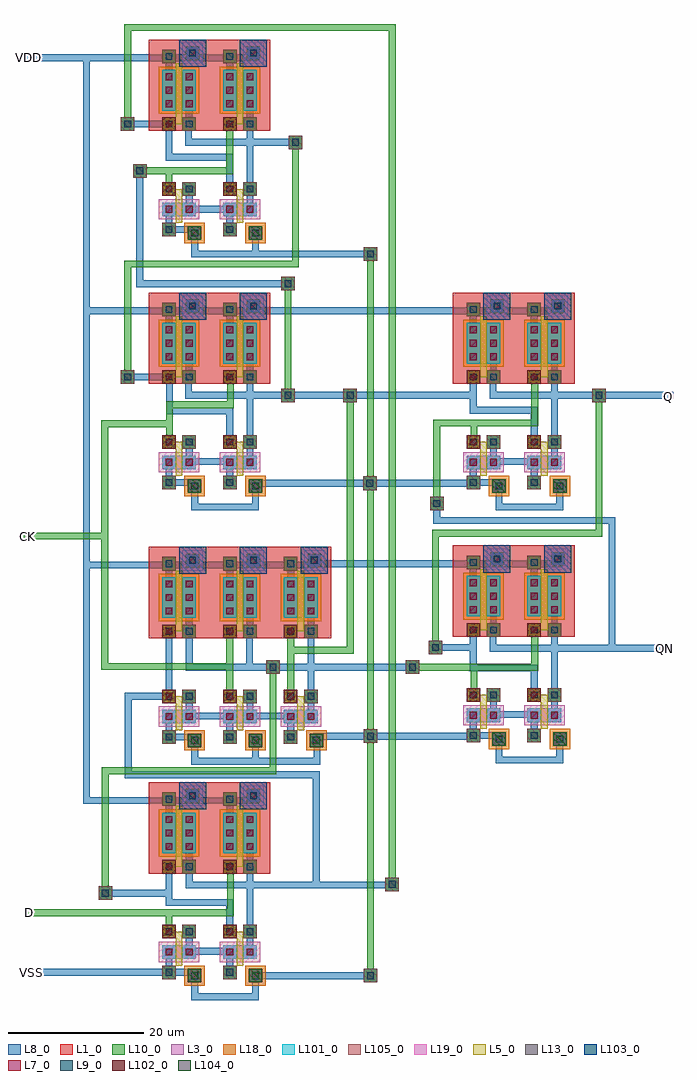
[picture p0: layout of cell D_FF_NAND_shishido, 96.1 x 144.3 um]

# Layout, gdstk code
import gdstk
lib = gdstk.Library(unit=1e-6, precision=1e-07)
def R(c, l, rs):  # rectangles x0, y0, x1, y1
    for r in rs: c.add(gdstk.rectangle(r[:2], r[2:], *l))
L1_0 = (1, 0)
L3_0 = (3, 0)
L5_0 = (5, 0)
L7_0 = (7, 0)
L8_0 = (8, 0)
L9_0 = (9, 0)
L10_0 = (10, 0)
L13_0 = (13, 0)
L18_0 = (18, 0)
L19_0 = (19, 0)
L101_0 = (101, 0)
L102_0 = (102, 0)
L103_0 = (103, 0)
L104_0 = (104, 0)
L105_0 = (105, 0)

via_1 = lib.new_cell('Via$1')
R(via_1, L8_0, [(-1,-1,1,1)])
R(via_1, L9_0, [(-0.5,-0.5,0.5,0.5)])
R(via_1, L10_0, [(-1,-1,1,1)])
R(via_1, L13_0, [(-0.5,-0.5,0.5,0.5)])
R(via_1, L105_0, [(-1,-1,1,1)])
via_1.add(gdstk.Label('via', (0,0), layer=13, texttype=0))

dcont = lib.new_cell('dcont')
R(dcont, L3_0, [(-1,-1,1,1)])
R(dcont, L7_0, [(-0.5,-0.5,0.5,0.5)])
R(dcont, L8_0, [(-1,-1,1,1)])
R(dcont, L13_0, [(-0.5,-0.5,0.5,0.5)])
R(dcont, L101_0, [(-1,-1,1,1)])

pcont = lib.new_cell('pcont')
R(pcont, L5_0, [(-1,-1,1,1)])
R(pcont, L7_0, [(-0.5,-0.5,0.5,0.5)])
R(pcont, L8_0, [(-1,-1,1,1)])
R(pcont, L13_0, [(-0.5,-0.5,0.5,0.5)])
R(pcont, L102_0, [(-1,-1,1,1)])

via = lib.new_cell('Via')
R(via, L8_0, [(-1,-1,1,1)])
R(via, L9_0, [(-0.5,-0.5,0.5,0.5)])
R(via, L10_0, [(-1,-1,1,1)])
R(via, L13_0, [(-0.5,-0.5,0.5,0.5)])
R(via, L105_0, [(-1,-1,1,1)])

dcont1 = lib.new_cell('dcont1')
R(dcont1, L3_0, [(-1,-1,1,1)])
R(dcont1, L7_0, [(-0.5,-0.5,0.5,0.5)])
R(dcont1, L8_0, [(-1,-1,1,1)])
R(dcont1, L13_0, [(-0.5,-0.5,0.5,0.5)])
R(dcont1, L101_0, [(-1,-1,1,1)])

nsubcont = lib.new_cell('nsubcont')
R(nsubcont, L1_0, [(-2,-2,2,2)])
R(nsubcont, L19_0, [(-1.5,-1.5,1.5,1.5)])
R(nsubcont, L103_0, [(-2,-2,2,2)])
nsubcont.add(gdstk.Reference(dcont1, (0,0)))

pch = lib.new_cell('Pch')
R(pch, L1_0, [(-2,0,7,13.5)])
R(pch, L3_0, [(0,3,5,9)])
R(pch, L18_0, [(-0.5,2.5,5.5,9.5)])
pch.add(gdstk.FlexPath([(1,3),(1,9)], 2, ends="flush", simple_path=True, layer=8, datatype=0))  # L8_0
pch.add(gdstk.FlexPath([(4,3),(4,9)], 2, ends="flush", simple_path=True, layer=8, datatype=0))  # L8_0
pch.add(gdstk.FlexPath([(1,8),(1,11)], 1, ends="flush", simple_path=True, layer=8, datatype=0))  # L8_0
pch.add(gdstk.FlexPath([(4,1),(4,4)], 1, ends="flush", simple_path=True, layer=8, datatype=0))  # L8_0
pch.add(gdstk.FlexPath([(2.5,3),(2.5,9)], 1, ends=(1, 1), simple_path=True, layer=5, datatype=0))  # L5_0
pch.add(gdstk.FlexPath([(1,1.5),(2.5,1.5),(2.5,2)], 1, ends="flush", simple_path=True, layer=5, datatype=0))  # L5_0
pch.add(gdstk.Reference(dcont, (1,4)))
pch.add(gdstk.Reference(dcont, (1,6)))
pch.add(gdstk.Reference(dcont, (1,8)))
pch.add(gdstk.Reference(dcont, (4,4)))
pch.add(gdstk.Reference(dcont, (4,6)))
pch.add(gdstk.Reference(dcont, (4,8)))
pch.add(gdstk.Reference(pcont, (1,1)))
pch.add(gdstk.Reference(via, (1,1)))
pch.add(gdstk.Reference(via, (1,11)))
pch.add(gdstk.Reference(via, (4,1)))
pch.add(gdstk.Reference(nsubcont, (4.5,11.5)))
pch.add(gdstk.Reference(via, (4.5,11.5)))

psubcont = lib.new_cell('psubcont')
R(psubcont, L18_0, [(-1.5,-1.5,1.5,1.5)])
R(psubcont, L104_0, [(-1,-1,1,1)])
psubcont.add(gdstk.Reference(dcont1, (0,0)))

nch = lib.new_cell('Nch')
R(nch, L3_0, [(0,3,5,5)])
R(nch, L19_0, [(-0.5,2.5,5.5,5.5)])
nch.add(gdstk.FlexPath([(1,3),(1,5)], 2, ends="flush", simple_path=True, layer=8, datatype=0))  # L8_0
nch.add(gdstk.FlexPath([(4,3),(4,5)], 2, ends="flush", simple_path=True, layer=8, datatype=0))  # L8_0
nch.add(gdstk.FlexPath([(1,1),(1,4)], 1, ends="flush", simple_path=True, layer=8, datatype=0))  # L8_0
nch.add(gdstk.FlexPath([(4,4),(4,7)], 1, ends="flush", simple_path=True, layer=8, datatype=0))  # L8_0
nch.add(gdstk.FlexPath([(2.5,3),(2.5,5)], 1, ends=(1, 1), simple_path=True, layer=5, datatype=0))  # L5_0
nch.add(gdstk.FlexPath([(1,6.5),(2.5,6.5),(2.5,6)], 1, ends="flush", simple_path=True, layer=5, datatype=0))  # L5_0
nch.add(gdstk.Reference(dcont, (1,4)))
nch.add(gdstk.Reference(dcont, (4,4)))
nch.add(gdstk.Reference(pcont, (1,7)))
nch.add(gdstk.Reference(via, (1,7)))
nch.add(gdstk.Reference(via, (1,1)))
nch.add(gdstk.Reference(via, (4,7)))
nch.add(gdstk.Reference(psubcont, (4.8,0.5)))
nch.add(gdstk.Reference(via, (4.8,0.5)))

d_ff_nand_shishido = lib.new_cell('D_FF_NAND_shishido')
R(d_ff_nand_shishido, L8_0, [(-3,-24.3,-1.4,-22.8), (-42.2,-12.2,-40.5,-10.4), (0.2,-10.9,1.8,-9.2), (-3,11.1,-1.4,12.7), (-17.4,21.3,-15.8,22.9), (3.2,21.3,4.8,22.9), (6.7,24.2,8.3,25.7), (6.8,45.5,8.4,47.2), (-3.1,48.5,-1.5,50.1), (-15.2,61.5,-13.5,63.1), (-6,61.5,-4.3,63.1), (-39,64.1,-37.2,65.9), (-15.2,78,-13.5,79.6), (-2.9,82.4,-1.4,84), (-37.2,94.6,-35.5,96.4), (-14.1,98.9,-12.5,100.6), (-38.9,101.5,-37.2,103.2)])
R(d_ff_nand_shishido, L10_0, [(-3,-24.3,-1.4,-22.8), (-42.2,-12.2,-40.5,-10.4), (0.2,-10.9,1.9,-9.2), (-3,11.1,-1.4,12.7), (-17.4,21.3,-15.8,22.9), (3.2,21.3,4.8,22.9), (6.6,24.2,8.3,25.8), (6.8,45.5,8.4,47.2), (-3.1,48.5,-1.5,50.1), (-15.2,61.5,-13.5,63.1), (-6,61.5,-4.3,63.1), (-39,64.1,-37.2,65.9), (-15.2,78,-13.5,79.6), (-2.9,82.4,-1.4,84), (-37.2,94.6,-35.5,96.4), (-14.1,98.9,-12.5,100.6), (-38.9,101.5,-37.2,103.2)])
d_ff_nand_shishido.add(gdstk.FlexPath([(-36.3,96),(-36.3,78.8),(-13.9,78.8)], 1, ends="flush", simple_path=True, layer=8, datatype=0))  # L8_0
d_ff_nand_shishido.add(gdstk.FlexPath([(-23,92.3),(-23,97.5),(-32,97.5),(-32,102.9),(-32,102.9)], 1, ends="flush", simple_path=True, layer=8, datatype=0))  # L8_0
d_ff_nand_shishido.add(gdstk.FlexPath([(-32,-6.9),(-32,-12.7),(-23,-12.7),(-23,-17.5)], 1, ends="flush", simple_path=True, layer=8, datatype=0))  # L8_0
d_ff_nand_shishido.add(gdstk.FlexPath([(-31.5,-11.3),(-41.9,-11.3)], 1, ends="flush", simple_path=True, layer=8, datatype=0))  # L8_0
d_ff_nand_shishido.add(gdstk.FlexPath([(13.5,25),(6.9,25)], 1, ends="flush", simple_path=True, layer=8, datatype=0))  # L8_0
d_ff_nand_shishido.add(gdstk.FlexPath([(4.6,22.1),(-29,22.1),(-29,27.9)], 1, ends="flush", simple_path=True, layer=8, datatype=0))  # L8_0
d_ff_nand_shishido.add(gdstk.FlexPath([(12.6,60.1),(22,60.1),(22,54.9)], 1, ends="flush", simple_path=True, layer=8, datatype=0))  # L8_0
d_ff_nand_shishido.add(gdstk.FlexPath([(13,65.5),(13,59.6)], 1, ends="flush", simple_path=True, layer=8, datatype=0))  # L8_0
d_ff_nand_shishido.add(gdstk.FlexPath([(13.5,62.3),(7.7,62.3)], 1, ends="flush", simple_path=True, layer=8, datatype=0))  # L8_0
d_ff_nand_shishido.add(gdstk.FlexPath([(-31.9,65.5),(-31.9,60),(-23,60),(-23,54.9)], 1, ends="flush", simple_path=True, layer=8, datatype=0))  # L8_0
d_ff_nand_shishido.add(gdstk.FlexPath([(-31.5,65),(-38.6,65)], 1, ends="flush", simple_path=True, layer=8, datatype=0))  # L8_0
d_ff_nand_shishido.add(gdstk.FlexPath([(-31.5,102.4),(-38.6,102.4)], 1, ends="flush", simple_path=True, layer=8, datatype=0))  # L8_0
d_ff_nand_shishido.add(gdstk.FlexPath([(-31.5,17.8),(-38,17.8),(-38,6.2),(-10.2,6.2),(-10.2,-10.6)], 1, ends="flush", simple_path=True, layer=8, datatype=0))  # L8_0
d_ff_nand_shishido.add(gdstk.FlexPath([(-11,-10.1),(1.5,-10.1)], 1, ends="flush", simple_path=True, layer=8, datatype=0))  # L8_0
d_ff_nand_shishido.add(gdstk.FlexPath([(-19.5,83.2),(-1.7,83.2)], 1, ends="flush", simple_path=True, layer=8, datatype=0))  # L8_0
d_ff_nand_shishido.add(gdstk.FlexPath([(7.2,74.8),(-20.5,74.8)], 1, ends="flush", simple_path=True, layer=8, datatype=0))  # L8_0
d_ff_nand_shishido.add(gdstk.FlexPath([(7.4,37.4),(-11,37.4)], 1, ends="flush", simple_path=True, layer=8, datatype=0))  # L8_0
d_ff_nand_shishido.add(gdstk.FlexPath([(-44.2,1.9),(-44.2,112.5)], 1, ends="flush", simple_path=True, layer=8, datatype=0))  # L8_0
d_ff_nand_shishido.add(gdstk.FlexPath([(-35.8,37.2),(-44.3,37.2)], 1, ends="flush", simple_path=True, layer=8, datatype=0))  # L8_0
d_ff_nand_shishido.add(gdstk.FlexPath([(-37.9,2.4),(-44.3,2.4)], 1, ends="flush", simple_path=True, layer=8, datatype=0))  # L8_0
d_ff_nand_shishido.add(gdstk.FlexPath([(-38,74.8),(-44.4,74.8)], 1, ends="flush", simple_path=True, layer=8, datatype=0))  # L8_0
d_ff_nand_shishido.add(gdstk.FlexPath([(-37.2,112.2),(-53.4,112.2)], 1, ends="flush", simple_path=True, layer=8, datatype=0))  # L8_0
d_ff_nand_shishido.add(gdstk.FlexPath([(-14.1,99.7),(-12.3,99.7)], 1, ends="flush", simple_path=True, layer=8, datatype=0))  # L8_0
d_ff_nand_shishido.add(gdstk.FlexPath([(-10.8,-10.1),(-29,-10.1),(-29,-7)], 1, ends="flush", simple_path=True, layer=8, datatype=0))  # L8_0
d_ff_nand_shishido.add(gdstk.FlexPath([(-14.6,62.3),(8.3,62.3)], 1, ends="flush", simple_path=True, layer=8, datatype=0))  # L8_0
d_ff_nand_shishido.add(gdstk.FlexPath([(-20.1,25),(-20.1,21.8)], 1, ends="flush", simple_path=True, layer=8, datatype=0))  # L8_0
d_ff_nand_shishido.add(gdstk.FlexPath([(30.7,62.3),(42.6,62.3)], 1, ends="flush", simple_path=True, layer=8, datatype=0))  # L8_0
d_ff_nand_shishido.add(gdstk.FlexPath([(33.5,44.1),(33.5,24.4)], 1, ends="flush", simple_path=True, layer=8, datatype=0))  # L8_0
d_ff_nand_shishido.add(gdstk.FlexPath([(7.6,46.8),(7.6,43.8),(34,43.8)], 1, ends="flush", simple_path=True, layer=8, datatype=0))  # L8_0
d_ff_nand_shishido.add(gdstk.FlexPath([(30.3,24.9),(42.1,24.9)], 1, ends="flush", simple_path=True, layer=8, datatype=0))  # L8_0
d_ff_nand_shishido.add(gdstk.FlexPath([(12.3,12),(17.2,12)], 1, ends="flush", simple_path=True, layer=8, datatype=0))  # L8_0
d_ff_nand_shishido.add(gdstk.FlexPath([(6.6,11.9),(13.2,11.9)], 1, ends="flush", simple_path=True, layer=8, datatype=0))  # L8_0
d_ff_nand_shishido.add(gdstk.FlexPath([(15.9,27.7),(15.9,24.9),(31,24.9),(31,24.9),(31,24.9)], 1, ends="flush", simple_path=True, layer=8, datatype=0))  # L8_0
d_ff_nand_shishido.add(gdstk.FlexPath([(25,27.7),(25,17.8)], 1, ends="flush", simple_path=True, layer=8, datatype=0))  # L8_0
d_ff_nand_shishido.add(gdstk.FlexPath([(16.8,11.4),(16.8,8.4),(25.8,8.4),(25.8,11.6),(25.8,11.6)], 1, ends="flush", simple_path=True, layer=8, datatype=0))  # L8_0
d_ff_nand_shishido.add(gdstk.FlexPath([(15.9,15.1),(22.3,15.1)], 1, ends="flush", simple_path=True, layer=8, datatype=0))  # L8_0
d_ff_nand_shishido.add(gdstk.FlexPath([(13,27.6),(13,22),(22,22),(22,17.6)], 1, ends="flush", simple_path=True, layer=8, datatype=0))  # L8_0
d_ff_nand_shishido.add(gdstk.FlexPath([(6.8,37.4),(26.3,37.4)], 1, ends="flush", simple_path=True, layer=8, datatype=0))  # L8_0
d_ff_nand_shishido.add(gdstk.FlexPath([(12.3,49.4),(17.2,49.4)], 1, ends="flush", simple_path=True, layer=8, datatype=0))  # L8_0
d_ff_nand_shishido.add(gdstk.FlexPath([(6.6,49.3),(13.2,49.3)], 1, ends="flush", simple_path=True, layer=8, datatype=0))  # L8_0
d_ff_nand_shishido.add(gdstk.FlexPath([(15.9,65.1),(15.9,62.3),(31,62.3),(31,62.3),(31,62.3)], 1, ends="flush", simple_path=True, layer=8, datatype=0))  # L8_0
d_ff_nand_shishido.add(gdstk.FlexPath([(25,65.1),(25,55.2)], 1, ends="flush", simple_path=True, layer=8, datatype=0))  # L8_0
d_ff_nand_shishido.add(gdstk.FlexPath([(16.8,48.8),(16.8,45.8),(25.8,45.8),(25.8,49),(25.8,49)], 1, ends="flush", simple_path=True, layer=8, datatype=0))  # L8_0
d_ff_nand_shishido.add(gdstk.FlexPath([(15.9,52.5),(22.3,52.5)], 1, ends="flush", simple_path=True, layer=8, datatype=0))  # L8_0
d_ff_nand_shishido.add(gdstk.FlexPath([(6.8,74.8),(26.3,74.8)], 1, ends="flush", simple_path=True, layer=8, datatype=0))  # L8_0
d_ff_nand_shishido.add(gdstk.FlexPath([(-32.7,49.4),(-27.8,49.4)], 1, ends="flush", simple_path=True, layer=8, datatype=0))  # L8_0
d_ff_nand_shishido.add(gdstk.FlexPath([(7.2,49.3),(-19.7,49.3)], 1, ends="flush", simple_path=True, layer=8, datatype=0))  # L8_0
d_ff_nand_shishido.add(gdstk.FlexPath([(-29.1,65.1),(-29.1,62.3),(-14,62.3),(-14,62.3),(-14,62.3)], 1, ends="flush", simple_path=True, layer=8, datatype=0))  # L8_0
d_ff_nand_shishido.add(gdstk.FlexPath([(-20,65.1),(-20,55.2)], 1, ends="flush", simple_path=True, layer=8, datatype=0))  # L8_0
d_ff_nand_shishido.add(gdstk.FlexPath([(-28.2,48.8),(-28.2,45.8),(-19.2,45.8),(-19.2,49),(-19.2,49)], 1, ends="flush", simple_path=True, layer=8, datatype=0))  # L8_0
d_ff_nand_shishido.add(gdstk.FlexPath([(-29.1,52.5),(-22.7,52.5)], 1, ends="flush", simple_path=True, layer=8, datatype=0))  # L8_0
d_ff_nand_shishido.add(gdstk.FlexPath([(7.1,11.9),(-10.1,11.9),(-10.1,10.5)], 1, ends="flush", simple_path=True, layer=8, datatype=0))  # L8_0
d_ff_nand_shishido.add(gdstk.FlexPath([(-38.2,74.8),(-18.7,74.8)], 1, ends="flush", simple_path=True, layer=8, datatype=0))  # L8_0
d_ff_nand_shishido.add(gdstk.FlexPath([(-32.7,86.8),(-27.8,86.8)], 1, ends="flush", simple_path=True, layer=8, datatype=0))  # L8_0
d_ff_nand_shishido.add(gdstk.FlexPath([(-29.1,102.5),(-29.1,99.7),(-14,99.7),(-14,99.7),(-14,99.7)], 1, ends="flush", simple_path=True, layer=8, datatype=0))  # L8_0
d_ff_nand_shishido.add(gdstk.FlexPath([(-20,102.5),(-20,92.6)], 1, ends="flush", simple_path=True, layer=8, datatype=0))  # L8_0
d_ff_nand_shishido.add(gdstk.FlexPath([(-28.2,86.2),(-28.2,83.2),(-19.2,83.2),(-19.2,86.4),(-19.2,86.4)], 1, ends="flush", simple_path=True, layer=8, datatype=0))  # L8_0
d_ff_nand_shishido.add(gdstk.FlexPath([(-29.5,89.8),(-22.5,89.8)], 1, ends="flush", simple_path=True, layer=8, datatype=0))  # L8_0
d_ff_nand_shishido.add(gdstk.FlexPath([(-38.2,112.2),(-18.7,112.2)], 1, ends="flush", simple_path=True, layer=8, datatype=0))  # L8_0
d_ff_nand_shishido.add(gdstk.FlexPath([(-38.2,2.4),(-18.7,2.4)], 1, ends="flush", simple_path=True, layer=8, datatype=0))  # L8_0
d_ff_nand_shishido.add(gdstk.FlexPath([(-29.1,-19.9),(-22.7,-19.9)], 1, ends="flush", simple_path=True, layer=8, datatype=0))  # L8_0
d_ff_nand_shishido.add(gdstk.FlexPath([(-28.2,-23.6),(-28.2,-26.6),(-19.2,-26.6),(-19.2,-23.4),(-19.2,-23.4)], 1, ends="flush", simple_path=True, layer=8, datatype=0))  # L8_0
d_ff_nand_shishido.add(gdstk.FlexPath([(-20,-7.3),(-20,-17.2)], 1, ends="flush", simple_path=True, layer=8, datatype=0))  # L8_0
d_ff_nand_shishido.add(gdstk.FlexPath([(-32.7,-23),(-27.8,-23)], 1, ends="flush", simple_path=True, layer=8, datatype=0))  # L8_0
d_ff_nand_shishido.add(gdstk.FlexPath([(-28.2,11.2),(-28.2,8.2),(-19.2,8.2),(-19.2,11.4),(-19.2,11.4)], 1, ends="flush", simple_path=True, layer=8, datatype=0))  # L8_0
d_ff_nand_shishido.add(gdstk.FlexPath([(-19.7,-23.5),(-1.8,-23.5)], 1, ends="flush", simple_path=True, layer=8, datatype=0))  # L8_0
d_ff_nand_shishido.add(gdstk.FlexPath([(-32.7,11.8),(-27.8,11.8)], 1, ends="flush", simple_path=True, layer=8, datatype=0))  # L8_0
d_ff_nand_shishido.add(gdstk.FlexPath([(-20.1,27.4),(-20.1,24.6)], 1, ends="flush", simple_path=True, layer=8, datatype=0))  # L8_0
d_ff_nand_shishido.add(gdstk.FlexPath([(-11,17.8),(-11,27.7)], 1, ends="flush", simple_path=True, layer=8, datatype=0))  # L8_0
d_ff_nand_shishido.add(gdstk.FlexPath([(-10.8,17.9),(-10.8,17.9)], 1, ends="flush", simple_path=True, layer=8, datatype=0))  # L8_0
d_ff_nand_shishido.add(gdstk.FlexPath([(-20,14.9),(-13.8,14.9)], 1, ends="flush", simple_path=True, layer=8, datatype=0))  # L8_0
d_ff_nand_shishido.add(gdstk.FlexPath([(-19.2,8.2),(-10.1,8.2),(-10.1,11.6),(-10.1,11.6)], 1, ends="flush", simple_path=True, layer=8, datatype=0))  # L8_0
d_ff_nand_shishido.add(gdstk.FlexPath([(-19.4,37.2),(-10,37.2)], 1, ends="flush", simple_path=True, layer=8, datatype=0))  # L8_0
d_ff_nand_shishido.add(gdstk.FlexPath([(-29.3,14.9),(-22.9,14.9)], 1, ends="flush", simple_path=True, layer=8, datatype=0))  # L8_0
d_ff_nand_shishido.add(gdstk.FlexPath([(-18.9,37.2),(-36.1,37.2)], 1, ends="flush", simple_path=True, layer=8, datatype=0))  # L8_0
d_ff_nand_shishido.add(gdstk.FlexPath([(-28.2,11.2),(-28.2,8.2),(-19.2,8.2),(-19.2,11.4),(-19.2,11.4)], 1, ends="flush", simple_path=True, layer=8, datatype=0))  # L8_0
d_ff_nand_shishido.add(gdstk.FlexPath([(-31.6,-23),(-53,-23)], 1, ends="flush", simple_path=True, layer=8, datatype=0))  # L8_0
d_ff_nand_shishido.add(gdstk.FlexPath([(-32.7,11.8),(-27.8,11.8)], 1, ends="flush", simple_path=True, layer=8, datatype=0))  # L8_0
d_ff_nand_shishido.add(gdstk.FlexPath([(-20.1,27.4),(-20.1,24.6)], 1, ends="flush", simple_path=True, layer=8, datatype=0))  # L8_0
d_ff_nand_shishido.add(gdstk.FlexPath([(-11,17.8),(-11,27.7)], 1, ends="flush", simple_path=True, layer=8, datatype=0))  # L8_0
d_ff_nand_shishido.add(gdstk.FlexPath([(-10.8,17.9),(-10.8,17.9)], 1, ends="flush", simple_path=True, layer=8, datatype=0))  # L8_0
d_ff_nand_shishido.add(gdstk.FlexPath([(-20,14.9),(-13.8,14.9)], 1, ends="flush", simple_path=True, layer=8, datatype=0))  # L8_0
d_ff_nand_shishido.add(gdstk.FlexPath([(-19.2,8.2),(-10.1,8.2),(-10.1,11.6),(-10.1,11.6)], 1, ends="flush", simple_path=True, layer=8, datatype=0))  # L8_0
d_ff_nand_shishido.add(gdstk.FlexPath([(-19.4,37.2),(-10,37.2)], 1, ends="flush", simple_path=True, layer=8, datatype=0))  # L8_0
d_ff_nand_shishido.add(gdstk.FlexPath([(-29.3,14.9),(-22.9,14.9)], 1, ends="flush", simple_path=True, layer=8, datatype=0))  # L8_0
d_ff_nand_shishido.add(gdstk.FlexPath([(-32,27.7),(-32,17.4)], 1, ends="flush", simple_path=True, layer=8, datatype=0))  # L8_0
d_ff_nand_shishido.add(gdstk.FlexPath([(-22.5,-14.2),(-53.3,-14.2)], 1, ends="flush", simple_path=True, layer=10, datatype=0))  # L10_0
d_ff_nand_shishido.add(gdstk.FlexPath([(-32,-17.5),(-32,-13.7)], 1, ends="flush", simple_path=True, layer=10, datatype=0))  # L10_0
d_ff_nand_shishido.add(gdstk.FlexPath([(-22.9,-11.6),(-22.9,-14.7)], 1, ends="flush", simple_path=True, layer=10, datatype=0))  # L10_0
d_ff_nand_shishido.add(gdstk.FlexPath([(-41.4,-11.8),(-41.4,6.8),(-16.6,6.8),(-16.6,22.6)], 1, ends="flush", simple_path=True, layer=10, datatype=0))  # L10_0
d_ff_nand_shishido.add(gdstk.FlexPath([(3.5,22.1),(22.1,22.1),(22.1,23.6)], 1, ends="flush", simple_path=True, layer=10, datatype=0))  # L10_0
d_ff_nand_shishido.add(gdstk.FlexPath([(13.1,17.5),(13.1,22.6)], 1, ends="flush", simple_path=True, layer=10, datatype=0))  # L10_0
d_ff_nand_shishido.add(gdstk.FlexPath([(7.4,24.4),(7.4,41.9),(31.6,41.9),(31.6,62.8)], 1, ends="flush", simple_path=True, layer=10, datatype=0))  # L10_0
d_ff_nand_shishido.add(gdstk.FlexPath([(7.6,45.7),(7.6,58.2),(13.6,58.2)], 1, ends="flush", simple_path=True, layer=10, datatype=0))  # L10_0
d_ff_nand_shishido.add(gdstk.FlexPath([(13.1,58.2),(22.1,58.2),(22.1,61)], 1, ends="flush", simple_path=True, layer=10, datatype=0))  # L10_0
d_ff_nand_shishido.add(gdstk.FlexPath([(13.1,54.9),(13.1,58.7)], 1, ends="flush", simple_path=True, layer=10, datatype=0))  # L10_0
d_ff_nand_shishido.add(gdstk.FlexPath([(-14.5,24.6),(-5.2,24.6),(-5.2,62.8)], 1, ends="flush", simple_path=True, layer=10, datatype=0))  # L10_0
d_ff_nand_shishido.add(gdstk.FlexPath([(-42,58.1),(-31.4,58.1)], 1, ends="flush", simple_path=True, layer=10, datatype=0))  # L10_0
d_ff_nand_shishido.add(gdstk.FlexPath([(-32.4,60.9),(-22.4,60.9)], 1, ends="flush", simple_path=True, layer=10, datatype=0))  # L10_0
d_ff_nand_shishido.add(gdstk.FlexPath([(-13.3,100.2),(-13.3,81.7),(-38.1,81.7),(-38.1,64.5)], 1, ends="flush", simple_path=True, layer=10, datatype=0))  # L10_0
d_ff_nand_shishido.add(gdstk.FlexPath([(-23,102.9),(-23,95.5),(-36.8,95.5)], 1, ends="flush", simple_path=True, layer=10, datatype=0))  # L10_0
d_ff_nand_shishido.add(gdstk.FlexPath([(-32,92.3),(-32,96)], 1, ends="flush", simple_path=True, layer=10, datatype=0))  # L10_0
d_ff_nand_shishido.add(gdstk.FlexPath([(-38.1,101.9),(-38.1,116.7),(1,116.7),(1,-10.6)], 1, ends="flush", simple_path=True, layer=10, datatype=0))  # L10_0
d_ff_nand_shishido.add(gdstk.FlexPath([(-2.2,12.4),(-2.2,-24)], 1, ends="flush", simple_path=True, layer=10, datatype=0))  # L10_0
d_ff_nand_shishido.add(gdstk.FlexPath([(-14.4,61.8),(-14.4,79.3)], 1, ends="flush", simple_path=True, layer=10, datatype=0))  # L10_0
d_ff_nand_shishido.add(gdstk.FlexPath([(-2.2,11.4),(-2.2,83.5)], 1, ends="flush", simple_path=True, layer=10, datatype=0))  # L10_0
d_ff_nand_shishido.add(gdstk.FlexPath([(22.1,27.5),(22.1,23)], 1, ends="flush", simple_path=True, layer=10, datatype=0))  # L10_0
d_ff_nand_shishido.add(gdstk.FlexPath([(-41.5,41.5),(-53.5,41.5)], 1, ends="flush", simple_path=True, layer=10, datatype=0))  # L10_0
d_ff_nand_shishido.add(gdstk.FlexPath([(-37.2,22.2),(-41.5,22.2),(-41.5,58.6)], 1, ends="flush", simple_path=True, layer=10, datatype=0))  # L10_0
d_ff_nand_shishido.add(gdstk.FlexPath([(-14.2,99.7),(-12.3,99.7)], 1, ends="flush", simple_path=True, layer=10, datatype=0))  # L10_0
d_ff_nand_shishido.add(gdstk.FlexPath([(15.8,27.5),(15.9,27.5)], 1, ends="flush", simple_path=True, layer=10, datatype=0))  # L10_0
d_ff_nand_shishido.add(gdstk.FlexPath([(15.8,64.9),(15.9,64.9)], 1, ends="flush", simple_path=True, layer=10, datatype=0))  # L10_0
d_ff_nand_shishido.add(gdstk.FlexPath([(22.1,64.9),(22.1,60.4)], 1, ends="flush", simple_path=True, layer=10, datatype=0))  # L10_0
d_ff_nand_shishido.add(gdstk.FlexPath([(-29.2,64.9),(-29.1,64.9)], 1, ends="flush", simple_path=True, layer=10, datatype=0))  # L10_0
d_ff_nand_shishido.add(gdstk.FlexPath([(-31.9,55.3),(-31.9,60.9)], 1, ends="flush", simple_path=True, layer=10, datatype=0))  # L10_0
d_ff_nand_shishido.add(gdstk.FlexPath([(-22.9,64.9),(-22.9,60.4)], 1, ends="flush", simple_path=True, layer=10, datatype=0))  # L10_0
d_ff_nand_shishido.add(gdstk.FlexPath([(-29.2,102.3),(-29.1,102.3)], 1, ends="flush", simple_path=True, layer=10, datatype=0))  # L10_0
d_ff_nand_shishido.add(gdstk.FlexPath([(-22.9,-7.5),(-22.9,-12)], 1, ends="flush", simple_path=True, layer=10, datatype=0))  # L10_0
d_ff_nand_shishido.add(gdstk.FlexPath([(-29.2,-7.5),(-29.1,-7.5)], 1, ends="flush", simple_path=True, layer=10, datatype=0))  # L10_0
d_ff_nand_shishido.add(gdstk.FlexPath([(-38,22.2),(-22.8,22.2)], 1, ends="flush", simple_path=True, layer=10, datatype=0))  # L10_0
d_ff_nand_shishido.add(gdstk.FlexPath([(-23,27.8),(-23,17.5)], 1, ends="flush", simple_path=True, layer=10, datatype=0))  # L10_0
d_ff_nand_shishido.add(gdstk.FlexPath([(-29.2,27.3),(-29.1,27.3)], 1, ends="flush", simple_path=True, layer=10, datatype=0))  # L10_0
d_ff_nand_shishido.add(gdstk.FlexPath([(-29.2,27.3),(-29.1,27.3)], 1, ends="flush", simple_path=True, layer=10, datatype=0))  # L10_0
d_ff_nand_shishido.add(gdstk.FlexPath([(-14,27.4),(-14,17.1)], 1, ends="flush", simple_path=True, layer=10, datatype=0))  # L10_0
d_ff_nand_shishido.add(gdstk.Reference(via_1, (7.6,46.3)))
d_ff_nand_shishido.add(gdstk.Reference(via_1, (-38.1,65)))
d_ff_nand_shishido.add(gdstk.Reference(via_1, (1,-10)))
d_ff_nand_shishido.add(gdstk.Reference(via_1, (-36.3,95.5)))
d_ff_nand_shishido.add(gdstk.Reference(via_1, (-2.2,-23.5)))
d_ff_nand_shishido.add(gdstk.Reference(via_1, (-5.2,62.3)))
d_ff_nand_shishido.add(gdstk.Reference(via_1, (-38.1,102.4)))
d_ff_nand_shishido.add(gdstk.Reference(via_1, (-2.3,49.3)))
d_ff_nand_shishido.add(gdstk.Reference(via_1, (-2.2,11.9)))
d_ff_nand_shishido.add(gdstk.Reference(via_1, (-2.2,83.2)))
d_ff_nand_shishido.add(gdstk.Reference(via_1, (-14.4,78.8)))
d_ff_nand_shishido.add(gdstk.Reference(via_1, (-14.4,62.3)))
d_ff_nand_shishido.add(gdstk.Reference(via_1, (-16.6,22.1)))
d_ff_nand_shishido.add(gdstk.Reference(via_1, (-13.3,99.7)))
d_ff_nand_shishido.add(gdstk.Reference(via_1, (31.6,62.3)))
d_ff_nand_shishido.add(gdstk.Reference(pch, (21,26.6)))
d_ff_nand_shishido.add(gdstk.Reference(pch, (12,26.6)))
d_ff_nand_shishido.add(gdstk.Reference(nch, (12,11)))
d_ff_nand_shishido.add(gdstk.Reference(nch, (21,11)))
d_ff_nand_shishido.add(gdstk.Reference(pch, (21,64)))
d_ff_nand_shishido.add(gdstk.Reference(pch, (12,64)))
d_ff_nand_shishido.add(gdstk.Reference(nch, (12,48.4)))
d_ff_nand_shishido.add(gdstk.Reference(nch, (21,48.4)))
d_ff_nand_shishido.add(gdstk.Reference(pch, (-24,64)))
d_ff_nand_shishido.add(gdstk.Reference(pch, (-33,64)))
d_ff_nand_shishido.add(gdstk.Reference(nch, (-33,48.4)))
d_ff_nand_shishido.add(gdstk.Reference(nch, (-24,48.4)))
d_ff_nand_shishido.add(gdstk.Reference(pch, (-24,101.4)))
d_ff_nand_shishido.add(gdstk.Reference(pch, (-33,101.4)))
d_ff_nand_shishido.add(gdstk.Reference(nch, (-33,85.8)))
d_ff_nand_shishido.add(gdstk.Reference(nch, (-24,85.8)))
d_ff_nand_shishido.add(gdstk.Reference(pch, (-24,26.4)))
d_ff_nand_shishido.add(gdstk.Reference(nch, (-15,10.8)))
d_ff_nand_shishido.add(gdstk.Reference(nch, (-24,10.8)))
d_ff_nand_shishido.add(gdstk.Reference(nch, (-33,10.8)))
d_ff_nand_shishido.add(gdstk.Reference(pch, (-15,26.4)))
d_ff_nand_shishido.add(gdstk.Reference(pch, (-33,26.4)))
d_ff_nand_shishido.add(gdstk.Reference(nch, (-24,-24)))
d_ff_nand_shishido.add(gdstk.Reference(nch, (-33,-24)))
d_ff_nand_shishido.add(gdstk.Reference(pch, (-33,-8.4)))
d_ff_nand_shishido.add(gdstk.Reference(pch, (-24,-8.4)))
d_ff_nand_shishido.add(gdstk.Reference(via_1, (-41.4,-11.3)))
d_ff_nand_shishido.add(gdstk.Reference(via_1, (7.4,25)))
d_ff_nand_shishido.add(gdstk.Reference(via_1, (4,22.1)))
d_ff_nand_shishido.add(gdstk.Label('QN', (41.2,24.8), layer=8, texttype=0))
d_ff_nand_shishido.add(gdstk.Label('Q', (41.9,62.2), layer=8, texttype=0))
d_ff_nand_shishido.add(gdstk.Label('VDD', (-52.8,112.2), layer=8, texttype=0))
d_ff_nand_shishido.add(gdstk.Label('VSS', (-52.3,-23.1), layer=8, texttype=0))
d_ff_nand_shishido.add(gdstk.Label('D', (-52.6,-14.2), layer=10, texttype=0))
d_ff_nand_shishido.add(gdstk.Label('CK', (-52.9,41.5), layer=10, texttype=0))

lib.write_gds('D_FF_NAND_shishido.gds')
